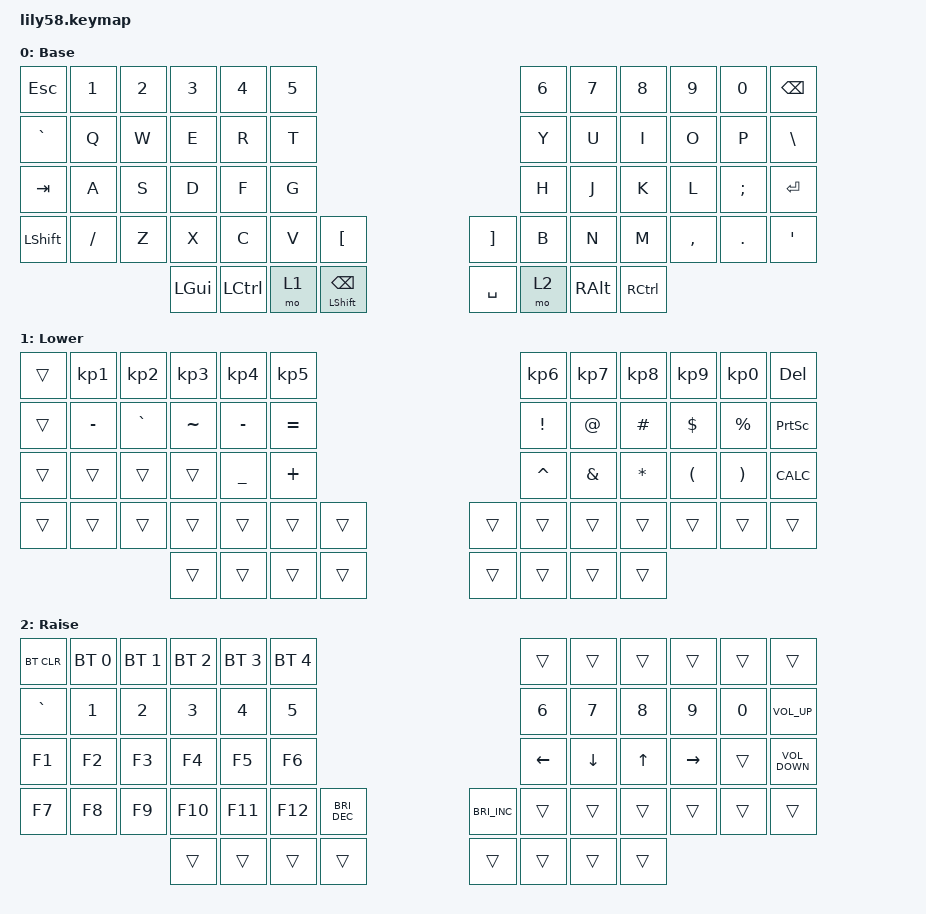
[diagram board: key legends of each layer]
/*
 * Copyright (c) 2020 The ZMK Contributors
 *
 * SPDX-License-Identifier: MIT
 */

#include <behaviors.dtsi>
#include <dt-bindings/zmk/bt.h>
#include <dt-bindings/zmk/keys.h>

/ {
    keymap {
        compatible = "zmk,keymap";

        default_layer {
            // ------------------------------------------------------------------------------------------------------------
            // |  ESC  |  1  |  2  |  3   |  4   |  5   |                   |  6   |  7    |  8    |  9   |   0   |   `   |
            // |  TAB  |  Q  |  W  |  E   |  R   |  T   |                   |  Y   |  U    |  I    |  O   |   P   |   -   |
            // |  CTRL |  A  |  S  |  D   |  F   |  G   |                   |  H   |  J    |  K    |  L   |   ;   |   '   |
            // | SHIFT |  Z  |  X  |  C   |  V   |  B   |   "["  |  |  "]"  |  N   |  M    |  ,    |  .   |   /   | SHIFT |
            //                     | ALT  | GUI  | LOWER|  SPACE |  | ENTER | RAISE| BSPC  | GUI   |

            display-name = "Base";
            bindings = <
&kp ESC    &kp N1     &kp N2  &kp N3        &kp N4            &kp N5                                         &kp N6  &kp N7         &kp N8     &kp N9     &kp N0      &kp BACKSPACE
&kp GRAVE  &kp Q      &kp W   &kp E         &kp R             &kp T                                          &kp Y   &kp U          &kp I      &kp O      &kp P       &kp BACKSLASH
&kp TAB    &kp A      &kp S   &kp D         &kp F             &kp G                                          &kp H   &kp J          &kp K      &kp L      &kp SEMI    &kp ENTER
&kp LSHFT  &kp SLASH  &kp Z   &kp X         &kp C             &kp V   &kp LBKT                    &kp RBKT   &kp B   &kp N          &kp M      &kp COMMA  &kp PERIOD  &kp SQT
                              &kp LEFT_GUI  &kp LEFT_CONTROL  &mo 1   &mt LEFT_SHIFT BACKSPACE    &kp SPACE  &mo 2   &kp RIGHT_ALT  &kp RCTRL
            >;
        };

        lower_layer {
            // ------------------------------------------------------------------------------------------------------------
            // | BTCLR | BT1 | BT2 |  BT3 |  BT4 |  BT5 |                   |      |       |       |      |       |       |
            // |  F1   |  F2 |  F3 |  F4  |  F5  |  F6  |                   |  F7  |  F8   |  F9   |  F10 |  F11  |  F12  |
            // |   `   |  !  |  @  |  #   |  $   |  %   |                   |  ^   |  &    |  *    |  (   |   )   |   ~   |
            // |       |     |     |      |      |      |        |  |       |      |  _    |  +    |  {   |   }   |  "|"  |
            //                     |      |      |      |        |  |       |      |       |       |

            display-name = "Lower";
            bindings = <
&trans  &kp KP_NUMBER_1  &kp KP_NUMBER_2  &kp KP_NUMBER_3  &kp KP_NUMBER_4  &kp KP_NUMBER_5                    &kp KP_NUMBER_6  &kp KP_NUMBER_7  &kp KP_NUMBER_8  &kp KP_NUMBER_9  &kp KP_NUMBER_0  &kp DELETE
&trans  &kp MINUS        &kp GRAVE        &kp TILDE        &kp MINUS        &kp EQUAL                          &kp EXCLAMATION  &kp AT_SIGN      &kp HASH         &kp DOLLAR       &kp PERCENT      &kp PRINTSCREEN
&trans  &trans           &trans           &trans           &kp UNDERSCORE   &kp PLUS                           &kp CARET        &kp AMPERSAND    &kp ASTERISK     &kp LPAR         &kp RPAR         &kp K_CALC
&trans  &trans           &trans           &trans           &trans           &trans           &trans    &trans  &trans           &trans           &trans           &trans           &trans           &trans
                                          &trans           &trans           &trans           &trans    &trans  &trans           &trans           &trans
            >;
        };

        raise_layer {
            // ------------------------------------------------------------------------------------------------------------
            // |       |     |     |      |      |      |                   |      |       |       |      |       |       |
            // |   `   |  1  |  2  |  3   |  4   |  5   |                   |  6   |   7   |   8   |  9   |   0   |       |
            // |   F1  |  F2 |  F3 |  F4  |  F5  |  F6  |                   |      |   <-  |   v   |  ^   |  ->   |       |
            // |   F7  |  F8 |  F9 |  F10 |  F11 |  F12 |        |  |       |  +   |   -   |   =   |  [   |   ]   |   \   |
            //                     |      |      |      |        |  |       |      |       |       |

            display-name = "Raise";
            bindings = <
&bt BT_CLR  &bt BT_SEL 0  &bt BT_SEL 1  &bt BT_SEL 2  &bt BT_SEL 3  &bt BT_SEL 4                                                &trans          &trans          &trans        &trans           &trans  &trans
&kp GRAVE   &kp N1        &kp N2        &kp N3        &kp N4        &kp N5                                                      &kp N6          &kp N7          &kp N8        &kp N9           &kp N0  &kp C_VOLUME_UP
&kp F1      &kp F2        &kp F3        &kp F4        &kp F5        &kp F6                                                      &kp LEFT_ARROW  &kp DOWN_ARROW  &kp UP_ARROW  &kp RIGHT_ARROW  &trans  &kp C_VOLUME_DOWN
&kp F7      &kp F8        &kp F9        &kp F10       &kp F11       &kp F12       &kp C_BRIGHTNESS_DEC    &kp C_BRIGHTNESS_INC  &trans          &trans          &trans        &trans           &trans  &trans
                                        &trans        &trans        &trans        &trans                  &trans                &trans          &trans          &trans
            >;
        };
    };
};
